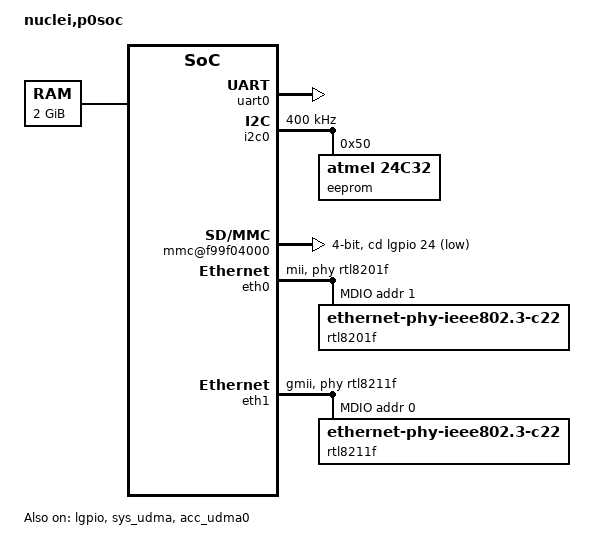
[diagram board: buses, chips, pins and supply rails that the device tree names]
/dts-v1/;

#include "nuclei-t0-pinfunc.h"
#include <dt-bindings/gpio/gpio.h>
#include <dt-bindings/clock/nuclei-clock.h>
#include <dt-bindings/reset/nuclei-reset.h>

#define TIMERCLK_FREQ      1000000
#define CPUCLK_FREQ        400000000

/ {
  #address-cells = <2>;
  #size-cells = <2>;
  compatible = "nuclei,p0soc";
  model = "nuclei,p0soc";
  dma-noncoherent;
  chosen {
      bootargs = "earlycon=sbi console=ttyNUC0 clk_ignore_unused";
      stdout-path = "serial0";
  };

  aliases {
    serial0 = &uart0;
  };

  cpus {
    #address-cells = <1>;
    #size-cells = <0>;
    timebase-frequency = <TIMERCLK_FREQ>;
    cpu0: cpu@0 {
      device_type = "cpu";
      reg = <0>;
      status = "okay";
      compatible = "riscv";
      riscv,isa = "rv64imafdc_zicbom_svpbmt_sstc_sscofpmf";
      riscv,cbom-block-size =<64>;
      mmu-type = "riscv,sv39";
      clock-frequency = <CPUCLK_FREQ>;
      cpu0_intc: interrupt-controller {
        #interrupt-cells = <1>;
        interrupt-controller;
        compatible = "riscv,cpu-intc";
      };
    };
    cpu1: cpu@1 {
      device_type = "cpu";
      reg = <1>;
      status = "okay";
      compatible = "riscv";
      riscv,isa = "rv64imafdc_zicbom_svpbmt_sstc_sscofpmf";
      riscv,cbom-block-size =<64>;
      mmu-type = "riscv,sv39";
      clock-frequency = <CPUCLK_FREQ>;
      cpu1_intc: interrupt-controller {
        #interrupt-cells = <1>;
        interrupt-controller;
        compatible = "riscv,cpu-intc";
      };
    };
  };

  memory@0 {
    device_type = "memory";
    reg = <0x0 0x0 0x0 0x80000000>;
  };

  reserved-memory {
    #address-cells = <2>;
    #size-cells = <2>;
    ranges;

    xec0_buf_memory: region@7E000000 {
        no-map;
        reg = <0x0 0x7E000000 0x0 0x38000>;
    };

    xec1_buf_memory: region@7E038000 {
        no-map;
        reg = <0x0 0x7E038000 0x0 0x38000>;
    };

    xec0_desc_memory: region@7E070000 {
        no-map;
        reg = <0x0 0x7E070000 0x0 0x8000>;
    };

    xec1_desc_memory: region@7E078000 {
        no-map;
        reg = <0x0 0x7E078000 0x0 0x8000>;
    };

    rtos_memory: region@7E080000 {
        no-map;
        reg = <0x0 0x7E080000 0x0 0x80000>;
    };

    rpmsg_reserved: rpmsg@7E100000 {
        no-map;
        reg = <0x0 0x7E100000 0x0 0x10000>;
    };

    rpmsg_dma_reserved:rpmsg_dma@7E110000 {
        compatible = "shared-dma-pool";
        no-map;
        reg = <0 0x7E110000 0 0xF0000>;
    };
  };

  soc {
    #address-cells = <2>;
    #size-cells = <2>;
    compatible = "nuclei,p0soc", "simple-bus";
    ranges;
  };

  /* Used for Uboot SBI Console */
  console {
    compatible = "sbi,console";
  };

  clocks {
    clk_in1: clk_in1 {
        compatible = "fixed-clock";
        #clock-cells = <0>;
        clock-frequency = <0>;
    };

    clk_in2: clk_in2 {
        compatible = "fixed-clock";
        #clock-cells = <0>;
        clock-frequency = <0>;
    };

    clk_in3: clk_in3 {
        compatible = "fixed-clock";
        #clock-cells = <0>;
        clock-frequency = <0>;
    };

    clk_in4: clk_in4 {
        compatible = "fixed-clock";
        #clock-cells = <0>;
        clock-frequency = <0>;
    };

    hsi: hsi {
        compatible = "fixed-clock";
        #clock-cells = <0>;
        clock-frequency = <16000000>;
    };

    hse: hse {
        compatible = "fixed-clock";
        #clock-cells = <0>;
        clock-frequency = <20000000>;
    };
    /* sys_pll set by N300 */
    sys_pll: sys_pll {
      compatible = "fixed-clock";
      #clock-cells = <0>;
      clock-frequency = <400000000>;
    };
    /* sys_pll_div2 set by N300 */
    sys_pll_div2: sys_pll_div2 {
      compatible = "fixed-clock";
      #clock-cells = <0>;
      clock-frequency = <200000000>;
    };
    /* sys_intf_clk set by N300 */
    sys_intf_clk: sys_intf_clk {
        compatible = "fixed-clock";
        #clock-cells = <0>;
        clock-frequency = <200000000>;
    };
    /* sys_clk set by N300 */
    sys_clk: sys_clk {
        compatible = "fixed-clock";
        #clock-cells = <0>;
        clock-frequency = <200000000>;
    };
  };

  ccu: clock-controller@f9c880000 {
    compatible = "nuclei,ccu";
    reg = <0xf 0x9c880000 0x0 0x1000>,/* sys_misc */
          <0xf 0x9cdb0000 0x0 0x1000>,/* xec_misc */
          <0xf 0x9c890000 0x0 0x1000>;/* usb_misc */
    #clock-cells = <1>;
    #reset-cells = <1>;
    clock-names = "hsi", "hse", "clk_in1", "clk_in2",
                "clk_in3", "clk_in4";
    clocks = <&hsi>, <&hse>, <&clk_in1>, <&clk_in2>,
                <&clk_in3>, <&clk_in4>;

    //assigned-clocks = <&ccu CLK_MUX_XEC_SYS>, <&ccu CLK_MUX_XEC_RMII>;
    //assigned-clock-parents = <&ccu CLK_CORE1_PLL>, <&ccu CLK_CORE1_PLL>;
    //core1-pll = <1 25 125 1>;   /* mux=1(xtal), N=25, M=125, OD=1 */
    //xuc-pll   = <1 20 100 1>;   /* mux=1(xtal), N=20, M=100, OD=1 */
  };

  pmu {
    compatible = "riscv,pmu";
    /* https://perf.wiki.kernel.org/index.php/Tutorial#Events */
    /* eg. perf stat -B coremark */
    /* eg. perf stat -e cycles -e instructions -e cache-misses -e branches -e branch-misses coremark */
    /* eg. perf stat -e cycles -e instructions -e L1-icache-load-misses -e L1-dcache-load-misses -e iTLB-load-misses -e dTLB-load-misses coremark */
    /* Note: in the dts comment, v2 means your Nuclei RISC-V CPU need to support HPM_VER = Version 2 */
    riscv,event-to-mhpmevent =
      /* Type #0 SBI_PMU_HW_CPU_CYCLES               -> Nuclei event sel=0 idx=1  Cycle count */
      <0x00001 0x00000000 0x00000010>,
      /* Type #0 SBI_PMU_HW_INSTRUCTIONS             -> Nuclei event sel=0 idx=2  Retired instruction count */
      <0x00002 0x00000000 0x00000020>,
      /* Type #0 SBI_PMU_HW_CACHE_REFERENCES         -> v2, Nuclei event sel=1 idx=8  L2-Cache access count */
      <0x00003 0x00000000 0x00000081>,
      /* Type #0 SBI_PMU_HW_CACHE_MISSES             -> v2, Nuclei event sel=1 idx=9  L2-Cache miss count */
      <0x00004 0x00000000 0x00000091>,
      /* Type #0 SBI_PMU_HW_BRANCH_INSTRUCTIONS      -> v2, Nuclei event sel=2 idx=2  Branch instruction commit count */
      <0x00005 0x00000000 0x00000022>,
      /* Type #0 SBI_PMU_HW_BRANCH_MISSES            -> v2, Nuclei event sel=2 idx=3  Branch predict fail count */
      <0x00006 0x00000000 0x00000032>,
      /* Type #0 SBI_PMU_HW_BUS_CYCLES               -> v2, Nuclei event sel=1 idx=10 Memory bus request count */
      <0x00007 0x00000000 0x000000A1>,
      /* Type #0 SBI_PMU_HW_STALLED_CYCLES_FRONTEND  -> v2, Nuclei event sel=1 idx=11 IFU stall cycle count */
      <0x00008 0x00000000 0x000000B1>,
      /* Type #0 SBI_PMU_HW_STALLED_CYCLES_BACKEND   -> v2, Nuclei event sel=1 idx=12 EXU stall cycle count */
      <0x00009 0x00000000 0x000000C1>,
      /* Type #0 SBI_PMU_HW_REF_CPU_CYCLES           -> v2, Nuclei event sel=1 idx=13 Timer count */
      <0x0000A 0x00000000 0x000000D1>,
      /* Type #1 SBI_PMU_HW_CACHE_L1D(0) READ(0) ACCESS(0)     -> v2, Nuclei event sel=3 idx=0 Dcache read count */
      <0x10000 0x00000000 0x00000003>,
      /* Type #1 SBI_PMU_HW_CACHE_L1D(0) READ(0) MISS(1)       -> v2, Nuclei event sel=3 idx=1 Dcache read miss count */
      <0x10001 0x00000000 0x00000013>,
      /* Type #1 SBI_PMU_HW_CACHE_L1D(0) WRITE(1) ACCESS(0)    -> v2, Nuclei event sel=3 idx=2 Dcache write count */
      <0x10002 0x00000000 0x00000023>,
      /* Type #1 SBI_PMU_HW_CACHE_L1D(0) WRITE(1) MISS(1)      -> v2, Nuclei event sel=3 idx=3 Dcache write miss count */
      <0x10003 0x00000000 0x00000033>,
      /* Type #1 SBI_PMU_HW_CACHE_L1D(0) PREFETCH(2) ACCESS(0) -> v2, Nuclei event sel=3 idx=4 Dcache prefetch count */
      <0x10004 0x00000000 0x00000043>,
      /* Type #1 SBI_PMU_HW_CACHE_L1D(0) PREFETCH(2) MISS(1)   -> v2, Nuclei event sel=3 idx=5 Dcache prefetch miss count */
      <0x10005 0x00000000 0x00000053>,
      /* Type #1 SBI_PMU_HW_CACHE_L1I(1) READ(0) ACCESS(0)     -> v2, Nuclei event sel=3 idx=6 Icache read count */
      <0x10008 0x00000000 0x00000063>,
      /* Type #1 SBI_PMU_HW_CACHE_L1I(1) READ(0) MISS(1)       -> v1, Nuclei event sel=1 idx=1 Icache read miss count */
      <0x10009 0x00000000 0x00000011>,
      /* Type #1 SBI_PMU_HW_CACHE_L1I(1) PREFETCH(2) ACCESS(0) -> v2, Nuclei event sel=3 idx=8 Icache prefetch count */
      <0x1000C 0x00000000 0x00000083>,
      /* Type #1 SBI_PMU_HW_CACHE_L1I(1) PREFETCH(2) MISS(1)   -> v2, Nuclei event sel=3 idx=9 Icache prefetch miss count */
      <0x1000D 0x00000000 0x00000093>,
      /* Type #1 SBI_PMU_HW_CACHE_LL(2) READ(0) ACCESS(0)      -> v2, Nuclei event sel=3 idx=10 L2 Cache read count */
      <0x10010 0x00000000 0x000000A3>,
      /* Type #1 SBI_PMU_HW_CACHE_LL(2) READ(0) MISS(1)        -> v2, Nuclei event sel=3 idx=11 L2 Cache read miss count */
      <0x10011 0x00000000 0x000000B3>,
      /* Type #1 SBI_PMU_HW_CACHE_LL(2) WRITE(1) ACCESS(0)     -> v2, Nuclei event sel=3 idx=12 L2 Cache write count */
      <0x10012 0x00000000 0x000000C3>,
      /* Type #1 SBI_PMU_HW_CACHE_LL(2) WRITE(1) MISS(1)       -> v2, Nuclei event sel=3 idx=13 L2 Cache write miss count */
      <0x10013 0x00000000 0x000000D3>,
      /* Type #1 SBI_PMU_HW_CACHE_LL(2) PREFETCH(2) ACCESS(0)  -> v2, Nuclei event sel=3 idx=14 L2 Cache prefetch count */
      <0x10014 0x00000000 0x000000E3>,
      /* Type #1 SBI_PMU_HW_CACHE_LL(2) PREFETCH(2) MISS(1)    -> v2, Nuclei event sel=3 idx=15 L2 Cache prefetch miss count */
      <0x10015 0x00000000 0x000000F3>,
      /* Type #1 SBI_PMU_HW_CACHE_DTLB(3) READ(0) ACCESS(0)     -> v2, Nuclei event sel=3 idx=16 DTLB read count */
      <0x10018 0x00000000 0x00000103>,
      /* Type #1 SBI_PMU_HW_CACHE_DTLB(3) READ(0) MISS(1)       -> v2, Nuclei event sel=3 idx=17 DTLB read miss count */
      <0x10019 0x00000000 0x00000113>,
      /* Type #1 SBI_PMU_HW_CACHE_DTLB(3) WRITE(1) ACCESS(0)    -> v2, Nuclei event sel=3 idx=18 DTLB write count */
      <0x1001A 0x00000000 0x00000123>,
      /* Type #1 SBI_PMU_HW_CACHE_DTLB(3) WRITE(1) MISS(1)      -> v2, Nuclei event sel=3 idx=19 DTLB write miss count */
      <0x1001B 0x00000000 0x00000133>,
      /* Type #1 SBI_PMU_HW_CACHE_ITLB(4) READ(0) ACCESS(0)     -> v2, Nuclei event sel=3 idx=20 ITLB read count */
      <0x10020 0x00000000 0x00000143>,
      /* Type #1 SBI_PMU_HW_CACHE_ITLB(4) READ(0) MISS(1)       -> v1, Nuclei event sel=1 idx=3 ITLB read miss count */
      <0x10021 0x00000000 0x00000031>,
      /* Type #1 SBI_PMU_HW_CACHE_BTB(5) READ(0) ACCESS(0)      -> v2, Nuclei event sel=3 idx=22 BTB read count */
      <0x10028 0x00000000 0x00000163>,
      /* Type #1 SBI_PMU_HW_CACHE_BTB(5) READ(0) MISS(1)        -> v2, Nuclei event sel=3 idx=23 BTB read miss count */
      <0x10029 0x00000000 0x00000173>,
      /* Type #1 SBI_PMU_HW_CACHE_BTB(5) WRITE(1) ACCESS(0)     -> v2, Nuclei event sel=3 idx=24 BTB write count */
      <0x1002A 0x00000000 0x00000183>,
      /* Type #1 SBI_PMU_HW_CACHE_BTB(5) WRITE(1) MISS(1)       -> v2, Nuclei event sel=3 idx=25 BTB write miss count */
      <0x1002B 0x00000000 0x00000193>,
      /* Type #1 SBI_PMU_HW_CACHE_NODE(6) READ(0) ACCESS(0)      -> v2, Nuclei event sel=3 idx=10 L2 Cache read count */
      <0x10030 0x00000000 0x000000A3>,
      /* Type #1 SBI_PMU_HW_CACHE_NODE(6) READ(0) MISS(1)        -> v2, Nuclei event sel=3 idx=11 L2 Cache read miss count */
      <0x10031 0x00000000 0x000000B3>,
      /* Type #1 SBI_PMU_HW_CACHE_NODE(6) WRITE(1) ACCESS(0)     -> v2, Nuclei event sel=3 idx=12 L2 Cache write count */
      <0x10032 0x00000000 0x000000C3>,
      /* Type #1 SBI_PMU_HW_CACHE_NODE(6) WRITE(1) MISS(1)       -> v2, Nuclei event sel=3 idx=13 L2 Cache write miss count */
      <0x10033 0x00000000 0x000000D3>,
      /* Type #1 SBI_PMU_HW_CACHE_NODE(6) PREFETCH(2) ACCESS(0)  -> v2, Nuclei event sel=3 idx=14 L2 Cache prefetch count */
      <0x10034 0x00000000 0x000000E3>,
      /* Type #1 SBI_PMU_HW_CACHE_NODE(6) PREFETCH(2) MISS(1)    -> v2, Nuclei event sel=3 idx=15 L2 Cache prefetch miss count */
      <0x10035 0x00000000 0x000000F3>;
    /* make hpm3-6 counter available for all hardware events */
    riscv,event-to-mhpmcounters =
      <0x00001 0x0000000A 0x00000078>,
      <0x10000 0x00010035 0x00000078>;
    /* Raw event: eg. perf stat -e cycles -e instructions -e r00000190 -e r00000010 coremark */
    riscv,raw-event-to-mhpmcounters =
      /*  Event Types 0 events - 0x1 Cycle count */
      <0x00000000 0x00000010 0xffffffff 0xffffffff 0x00000078>,
      /*  Event Types 0 events - 0x2 Retired instruction count */
      <0x00000000 0x00000020 0xffffffff 0xffffffff 0x00000078>,
      /*  Event Types 0 events - 0x3 Integer load instruction (includes LR) */
      <0x00000000 0x00000030 0xffffffff 0xffffffff 0x00000078>,
      /*  Event Types 0 events - 0x4 Integer store instruction (includes SC) */
      <0x00000000 0x00000040 0xffffffff 0xffffffff 0x00000078>,
      /*  Event Types 0 events - 0x5 Atomic memory operation (do not include LR and SC) */
      <0x00000000 0x00000050 0xffffffff 0xffffffff 0x00000078>,
      /*  Event Types 0 events - 0x6 System instruction */
      <0x00000000 0x00000060 0xffffffff 0xffffffff 0x00000078>,
      /*  Event Types 0 events - 0x7 Integer computational instruction(excluding multiplication/division/remainder) */
      <0x00000000 0x00000070 0xffffffff 0xffffffff 0x00000078>,
      /*  Event Types 0 events - 0x8 Conditional branch */
      <0x00000000 0x00000080 0xffffffff 0xffffffff 0x00000078>,
      /*  Event Types 0 events - 0x9 Taken conditional branch */
      <0x00000000 0x00000090 0xffffffff 0xffffffff 0x00000078>,
      /*  Event Types 0 events - 0xa JAL instruction */
      <0x00000000 0x000000a0 0xffffffff 0xffffffff 0x00000078>,
      /*  Event Types 0 events - 0xb JALR instruction */
      <0x00000000 0x000000b0 0xffffffff 0xffffffff 0x00000078>,
      /*  Event Types 0 events - 0xc Return instruction */
      <0x00000000 0x000000c0 0xffffffff 0xffffffff 0x00000078>,
      /*  Event Types 0 events - 0xd Control transfer instruction (CBR+JAL+JALR) */
      <0x00000000 0x000000d0 0xffffffff 0xffffffff 0x00000078>,
      /*  Event Types 0 events - 0xe fence instruction(Not include fence.i) */
      <0x00000000 0x000000e0 0xffffffff 0xffffffff 0x00000078>,
      /*  Event Types 0 events - 0xf Integer multiplication instruction */
      <0x00000000 0x000000f0 0xffffffff 0xffffffff 0x00000078>,
      /*  Event Types 0 events - 0x10 Integer division/remainder instruction */
      <0x00000000 0x00000100 0xffffffff 0xffffffff 0x00000078>,
      /*  Event Types 0 events - 0x11 Floating-point load instruction */
      <0x00000000 0x00000110 0xffffffff 0xffffffff 0x00000078>,
      /*  Event Types 0 events - 0x12 Floating-point store instruction */
      <0x00000000 0x00000120 0xffffffff 0xffffffff 0x00000078>,
      /*  Event Types 0 events - 0x13 Floating-point addition/subtraction */
      <0x00000000 0x00000130 0xffffffff 0xffffffff 0x00000078>,
      /*  Event Types 0 events - 0x14 Floating-point multiplication */
      <0x00000000 0x00000140 0xffffffff 0xffffffff 0x00000078>,
      /*  Event Types 0 events - 0x15 Floating-point fused multiply-add (FMADD, FMSUB,FNMSUB, FNMADD) */
      <0x00000000 0x00000150 0xffffffff 0xffffffff 0x00000078>,
      /*  Event Types 0 events - 0x16 Floating-point division or square-root */
      <0x00000000 0x00000160 0xffffffff 0xffffffff 0x00000078>,
      /*  Event Types 0 events - 0x17 Other floating-point instruction */
      <0x00000000 0x00000170 0xffffffff 0xffffffff 0x00000078>,
      /*  Event Types 0 events - 0x18 Conditional branch(BXX) prediction fail */
      <0x00000000 0x00000180 0xffffffff 0xffffffff 0x00000078>,
      /*  Event Types 0 events - 0x19 JALR prediction fail */
      <0x00000000 0x00000190 0xffffffff 0xffffffff 0x00000078>,
      /*  Event Types 0 events - 0x1a POP prediction fail */
      <0x00000000 0x000001a0 0xffffffff 0xffffffff 0x00000078>,
      /*  Event Types 0 events - 0x1b FENCEI instruction */
      <0x00000000 0x000001b0 0xffffffff 0xffffffff 0x00000078>,
      /*  Event Types 0 events - 0x1c SFENCE instruction */
      <0x00000000 0x000001c0 0xffffffff 0xffffffff 0x00000078>,
      /*  Event Types 0 events - 0x1d ECALL instruction */
      <0x00000000 0x000001d0 0xffffffff 0xffffffff 0x00000078>,
      /*  Event Types 0 events - 0x1e EXCEPTION instruction */
      <0x00000000 0x000001e0 0xffffffff 0xffffffff 0x00000078>,
      /*  Event Types 0 events - 0x1f INTERRUPT instruction */
      <0x00000000 0x000001f0 0xffffffff 0xffffffff 0x00000078>,
      /*  Event Types 1 events - 0x1 Icache read miss count */
      <0x00000000 0x00000011 0xffffffff 0xffffffff 0x00000078>,
      /*  Event Types 1 events - 0x2 Dcache read/write miss count */
      <0x00000000 0x00000021 0xffffffff 0xffffffff 0x00000078>,
      /*  Event Types 1 events - 0x3 ITLB read miss count */
      <0x00000000 0x00000031 0xffffffff 0xffffffff 0x00000078>,
      /*  Event Types 1 events - 0x4 DTLB read/write miss count */
      <0x00000000 0x00000041 0xffffffff 0xffffffff 0x00000078>,
      /*  Event Types 1 events - 0x5 Main TLB miss count */
      <0x00000000 0x00000051 0xffffffff 0xffffffff 0x00000078>,
      /*  Event Types 1 events - 0x6 Reserved */
      <0x00000000 0x00000061 0xffffffff 0xffffffff 0x00000078>,
      /*  Event Types 1 events - 0x7 Reserved */
      <0x00000000 0x00000071 0xffffffff 0xffffffff 0x00000078>,
      /*  Event Types 1 events - 0x8 L2-Cache access count */
      <0x00000000 0x00000081 0xffffffff 0xffffffff 0x00000078>,
      /*  Event Types 1 events - 0x9 L2-Cache miss count */
      <0x00000000 0x00000091 0xffffffff 0xffffffff 0x00000078>,
      /*  Event Types 1 events - 0xa Memory bus request count */
      <0x00000000 0x000000a1 0xffffffff 0xffffffff 0x00000078>,
      /*  Event Types 1 events - 0xb IFU stall cycle count */
      <0x00000000 0x000000b1 0xffffffff 0xffffffff 0x00000078>,
      /*  Event Types 1 events - 0xc EXU stall cycle count */
      <0x00000000 0x000000c1 0xffffffff 0xffffffff 0x00000078>,
      /*  Event Types 1 events - 0xd Timer count */
      <0x00000000 0x000000d1 0xffffffff 0xffffffff 0x00000078>,
      /*  Event Types 2 events - 0x1 VPU store instruction commit count */
      <0x00000000 0x00000012 0xffffffff 0xffffffff 0x00000078>,
      /*  Event Types 2 events - 0x2 Reserved */
      <0x00000000 0x00000022 0xffffffff 0xffffffff 0x00000078>,
      /*  Event Types 2 events - 0x3 VPU load instruction commit count */
      <0x00000000 0x00000032 0xffffffff 0xffffffff 0x00000078>,
      /*  Event Types 2 events - 0x4 VPU computational instruction commit count */
      <0x00000000 0x00000042 0xffffffff 0xffffffff 0x00000078>,
      /*  Event Types 2 events - 0x5 Branch predict fail count */
      <0x00000000 0x00000052 0xffffffff 0xffffffff 0x00000078>,
      /*  Event Types 3 events - 0x1 Icache read count */
      <0x00000000 0x00000013 0xffffffff 0xffffffff 0x00000078>,
      /*  Event Types 3 events - 0x2 L2-Cache read hit count */
      <0x00000000 0x00000023 0xffffffff 0xffffffff 0x00000078>,
      /*  Event Types 3 events - 0x3 DTLB write count */
      <0x00000000 0x00000033 0xffffffff 0xffffffff 0x00000078>,
      /*  Event Types 3 events - 0x4 L2-Cache write miss count */
      <0x00000000 0x00000043 0xffffffff 0xffffffff 0x00000078>,
      /*  Event Types 3 events - 0x5 Reserved */
      <0x00000000 0x00000053 0xffffffff 0xffffffff 0x00000078>,
      /*  Event Types 3 events - 0x6 Icache prefetch miss count */
      <0x00000000 0x00000063 0xffffffff 0xffffffff 0x00000078>,
      /*  Event Types 3 events - 0x7 BTB write count */
      <0x00000000 0x00000073 0xffffffff 0xffffffff 0x00000078>,
      /*  Event Types 3 events - 0x8 L2-Cache read miss count */
      <0x00000000 0x00000083 0xffffffff 0xffffffff 0x00000078>,
      /*  Event Types 3 events - 0x9 DTLB write miss count */
      <0x00000000 0x00000093 0xffffffff 0xffffffff 0x00000078>,
      /*  Event Types 3 events - 0xa ITLB read count */
      <0x00000000 0x000000a3 0xffffffff 0xffffffff 0x00000078>,
      /*  Event Types 3 events - 0xb BTB read count */
      <0x00000000 0x000000b3 0xffffffff 0xffffffff 0x00000078>,
      /*  Event Types 3 events - 0xc Dcache prefetch count */
      <0x00000000 0x000000c3 0xffffffff 0xffffffff 0x00000078>,
      /*  Event Types 3 events - 0xd Icache prefetch count */
      <0x00000000 0x000000d3 0xffffffff 0xffffffff 0x00000078>,
      /*  Event Types 3 events - 0xe Dcache write count */
      <0x00000000 0x000000e3 0xffffffff 0xffffffff 0x00000078>,
      /*  Event Types 3 events - 0xf DTLB read count */
      <0x00000000 0x000000f3 0xffffffff 0xffffffff 0x00000078>,
      /*  Event Types 3 events - 0x10 Dcache write miss count */
      <0x00000000 0x00000103 0xffffffff 0xffffffff 0x00000078>,
      /*  Event Types 3 events - 0x11 BTB write miss count */
      <0x00000000 0x00000113 0xffffffff 0xffffffff 0x00000078>,
      /*  Event Types 3 events - 0x12 Dcache read count */
      <0x00000000 0x00000123 0xffffffff 0xffffffff 0x00000078>,
      /*  Event Types 3 events - 0x13 L2-Cache write hit count */
      <0x00000000 0x00000133 0xffffffff 0xffffffff 0x00000078>,
      /*  Event Types 3 events - 0x14 L2-Cache prefetch miss count */
      <0x00000000 0x00000143 0xffffffff 0xffffffff 0x00000078>,
      /*  Event Types 3 events - 0x15 BTB read miss count */
      <0x00000000 0x00000153 0xffffffff 0xffffffff 0x00000078>,
      /*  Event Types 3 events - 0x16 Dcache read miss count */
      <0x00000000 0x00000163 0xffffffff 0xffffffff 0x00000078>,
      /*  Event Types 3 events - 0x17 L2-Cache prefetch hit count */
      <0x00000000 0x00000173 0xffffffff 0xffffffff 0x00000078>,
      /*  Event Types 3 events - 0x18 DTLB read miss count */
      <0x00000000 0x00000183 0xffffffff 0xffffffff 0x00000078>;
  };

  plic0: interrupt-controller@f94000000 {
    #interrupt-cells = <1>;
    compatible = "riscv,plic0";
    interrupt-controller;
    riscv,ndev = <127>;
    interrupts-extended =
          <&cpu0_intc 11 &cpu0_intc 9
           &cpu1_intc 11 &cpu1_intc 9>;
    reg = <0xf 0x94000000 0x0 0x4000000>;
  };

  clint0: clint@f90031000 {
    #interrupt-cells = <1>;
    compatible = "riscv,clint0";
    reg = <0xf 0x90031000 0x0 0x10000>;
    interrupts-extended =
          <&cpu0_intc 3 &cpu0_intc 7
           &cpu1_intc 3 &cpu1_intc 7>;
  };

  iomuxc:iomuxc@f9ca00000 {
    compatible = "nuclei,iomuxc";
    reg = <0xf 0x9ca00000 0x0 0x100000>;
    clocks = <&ccu CLK_IOMUX>;
    clock-names = "apb";
    pinctrl_uart0: uart0grp {
        nuclei,pins = <
            PAD_LS(19, 0, USART0_RX)
            PAD_LS(20, 0, USART0_TX)
        >;
    };

    pinctrl_i2c0: i2c0grp {
        nuclei,pins = <
            PAD_LS(36, 1, I2C0_SCL)
            PAD_LS(37, 1, I2C0_SDA)
        >;
        bias-pull-up;
    };

    pinctrl_spi0: spi0grp {
        nuclei,pins = <
            PAD0_G0_HS0_QSPI_XIP0_CS_0
            PAD4_G0_HS0_QSPI_XIP0_SCK
            PAD5_G0_HS0_QSPI_XIP0_DQ_0
            PAD1_G0_HS0_QSPI_XIP0_DQ_1
        >;
    };

    pinctrl_sdio0: sdio0grp {
        nuclei,pins = <
            PAD9_G0_HS0_SDIO0_SDCLK
            PAD8_G0_HS0_SDIO0_SDCMD
            PAD7_G0_HS0_SDIO0_SDDATA0
            PAD6_G0_HS0_SDIO0_SDDATA1
            PAD11_G0_HS0_SDIO0_SDDATA2
            PAD10_G0_HS0_SDIO0_SDDATA3
        >;
    };

    pinctrl_xec0: xecgrp {
        nuclei,pins = <
            PAD16_G0_HS0_XEC_GEN20_MDIO
            PAD17_G0_HS0_XEC_GEN20_MDC
            PAD18_G0_HS0_XEC_GEN20_GMII_TXEN
            PAD21_G0_HS0_XEC_GEN20_GMII_TXD3
            PAD22_G1_HS0_XEC_GEN20_GMII_TXD2
            PAD23_G1_HS0_XEC_GEN20_GMII_TXD1
            PAD24_G1_HS0_XEC_GEN20_GMII_TXD0
            PAD25_G1_HS0_XEC_GEN20_XMII_TXC
            PAD26_G1_HS0_XEC_GEN20_GMII_RXC
            PAD27_G1_HS0_XEC_GEN20_GMII_RXD3
            PAD28_G1_HS0_XEC_GEN20_GMII_RXD2
            PAD29_G1_HS0_XEC_GEN20_GMII_RXD1
            PAD30_G1_HS0_XEC_GEN20_GMII_RXD0
            PAD31_G1_HS0_XEC_GEN20_GMII_RXDV
            PAD32_G1_HS0_XEC_GEN20_GMII_RXER
            PAD33_G1_HS0_XEC_GEN20_GMII_COL
            PAD34_G1_HS0_XEC_GEN20_GMII_CRS
            PAD35_G1_HS0_XEC_GEN20_GMII_TXER
        >;
    };

    pinctrl_disp: dispgrp {
        nuclei,pins = <
            PAD64_G3_HS0_DISP0_VS
            PAD65_G3_HS0_DISP0_HS
            PAD66_G3_HS0_DISP0_PIXCLK
            PAD67_G3_HS0_DISP0_DE
            PAD68_G3_HS0_DISP0_RED7
            PAD69_G3_HS0_DISP0_RED6
            PAD70_G3_HS0_DISP0_RED5
            PAD71_G3_HS0_DISP0_RED4
            PAD72_G3_HS0_DISP0_RED3
            PAD73_G3_HS0_DISP0_RED2
            PAD74_G3_HS0_DISP0_RED1
            PAD75_G3_HS0_DISP0_RED0
            PAD76_G3_HS0_DISP0_GREEN7
            PAD77_G3_HS0_DISP0_GREEN6
            PAD78_G3_HS0_DISP0_GREEN5
            PAD79_G3_HS0_DISP0_GREEN4
            PAD80_G3_HS0_DISP0_GREEN3
            PAD81_G3_HS0_DISP0_GREEN2
            PAD82_G3_HS0_DISP0_GREEN1
            PAD83_G3_HS0_DISP0_GREEN0
            PAD84_G3_HS0_DISP0_BLUE7
            PAD85_G4_HS0_DISP0_BLUE6
            PAD86_G4_HS0_DISP0_BLUE5
            PAD87_G4_HS0_DISP0_BLUE4
            PAD88_G4_HS0_DISP0_BLUE3
            PAD89_G4_HS0_DISP0_BLUE2
            PAD90_G4_HS0_DISP0_BLUE1
            PAD91_G4_HS0_DISP0_BLUE0
        >;
    };
  };

  lgpio:lgpio@F9c480000 {
    compatible = "nuclei,gpio";
    reg = <0xf 0x9c480000 0x0 0x1000>;
    interrupt-parent = <&plic0>;
    interrupts = <58>;
    gpio-controller;
    #gpio-cells = <2>;
    interrupt-controller;
    #interrupt-cells = <2>;
    /* gpio 0~3, 24~31 can be used */
    gpio-ranges = <&iomuxc 0 12 4>, <&iomuxc 24 127 2>,
                <&iomuxc 26 131 2>, <&iomuxc 28 165 4>;
    /* no used gpio from 4 to 23 */
    gpio-reserved-ranges = <4 20>;
    clocks = <&ccu CLK_LGPIO0>;
    clock-names = "apb";
    assigned-clocks = <&ccu CLK_LGPIO0>;
    assigned-clock-rates = <50000000>;
    status = "okay";
  };

  sys_udma:sys_udma@F9C900000 {
    compatible = "nuclei,dmac";
    #dma-cells = <2>;
    reg = <0xf 0x9C900000 0x0 0x1000>;
    interrupt-parent = <&plic0>;
    interrupts = <94>;
    clocks = <&ccu CLK_SYS_UDMA>;
    clock-names = "apb";
    resets = <&ccu RST_SYS_UDMA>;
    /* dma channel for mem2mem */
    dma-memcpy = <8>;
    /* dma channel for pa2mem */
    dma-channels = <0>;
    dma-requests = <8>;
    status = "okay";
  };

  acc_udma0:acc_udma0@f9c910000 {
    compatible = "nuclei,dmac";
    #dma-cells = <2>;
    reg = <0xf 0x9c910000 0x0 0x1000>;
    interrupt-parent = <&plic0>;
    interrupts = <110>;
    clocks = <&ccu CLK_ACC_UDMA0>;
    clock-names = "apb";
    resets = <&ccu RST_ACC_UDMA0>;
    dma-ctrl-id = <0>;
    /* dma channel for mem2mem */
    dma-memcpy = <2>;
    /* dma channel for pa2mem */
    dma-channels = <13>;
    dma-requests = <103>;
    status = "okay";
  };

  acc_udma1:acc_udma0@f9c920000 {
    compatible = "nuclei,dmac";
    #dma-cells = <2>;
    reg = <0xf 0x9c920000 0x0 0x1000>;
    interrupt-parent = <&plic0>;
    interrupts = <112>;
    clocks = <&ccu CLK_ACC_UDMA1>;
    clock-names = "apb";
    resets = <&ccu RST_ACC_UDMA1>;
    dma-ctrl-id = <1>;
    /* dma channel for mem2mem */
    dma-memcpy = <2>;
    /* dma channel for pa2mem */
    dma-channels = <12>;
    dma-requests = <94>;
    status = "disabled";
  };

  uart0: serial@f9c250000 {
    compatible = "nuclei,uart0";
    reg = <0xf 0x9c250000 0x0 0x1000>;
    pinctrl-names = "default";
    pinctrl-0 = <&pinctrl_uart0>;
    clocks = <&ccu CLK_USART0>, <&ccu CLK_USART0_INTF>;
    clock-names = "apb", "kern";
    assigned-clocks = <&ccu CLK_USART0>, <&ccu CLK_USART0_INTF>;
    assigned-clock-rates = <100000000>, <100000000>;
    clock-frequency = <100000000>;
    interrupt-parent = <&plic0>;
    interrupts = <5>;
    status = "okay";
  };

  uart1: serial@f9c251000 {
    compatible = "nuclei,uart0";
    reg = <0xf 0x9c251000 0x0 0x1000>;
    interrupt-parent = <&plic0>;
    interrupts = <6>;
    clocks = <&ccu CLK_USART1>, <&ccu CLK_USART1_INTF>;
    clock-names = "apb", "kern";
    status = "disabled";
  };

  i2c0: i2c@f9c280000 {
    compatible = "nuclei,i2c";
    reg = <0xf 0x9c280000 0x0 0x1000>;
    pinctrl-names = "default";
    pinctrl-0 = <&pinctrl_i2c0>;
    status = "okay";
    clocks = <&ccu CLK_I2C0>, <&ccu CLK_I2C0_INTF>;
    clock-names = "apb", "kern";
    clock-frequency = <400000>;
    resets = <&ccu RST_I2C0>;
    assigned-clocks = <&ccu CLK_I2C0>, <&ccu CLK_I2C0_INTF>;
    assigned-clock-rates = <50000000>, <8000000>;
    dmas = <&acc_udma0 1 16>, <&acc_udma0 1 17>;
    dma-names = "tx", "rx";
    #address-cells = <1>;
    #size-cells = <0>;

    eeprom@50 {
        compatible = "atmel,24c32";
        reg = <0x50>;
        pagesize = <32>;
    };
  };

  qspi0: spi@f9c200000 {
    compatible = "nuclei,spi0";
    reg = <0xf 0x9c200000 0x0 0x1000>;
    pinctrl-names = "default";
    pinctrl-0 = <&pinctrl_spi0>;
    interrupt-parent = <&plic0>;
    interrupts = <24>;
    num-cs = <1>;

    dmas = <&acc_udma0 1 20>, <&acc_udma0 1 21>;
    dma-names = "tx", "rx";

    #address-cells = <1>;
    #size-cells = <0>;
    clocks = <&ccu CLK_QSPI_XIP0>, <&ccu CLK_QSPI_XIP0_INTF>;
    clock-names = "apb", "kern";
    resets = <&ccu RST_QSPI_XIP0>;
    status = "disabled";

    flash@0 {
      compatible = "jedec,spi-nor";
      reg = <0>;
      spi-max-frequency = <1000000>;
      m25p,fast-read;
      spi-tx-bus-width = <1>;
      spi-rx-bus-width = <1>;
    };
  };


  mmc@f99f04000 {
    compatible = "nuclei,mmc";
    reg = <0xf 0x99f04000 0x0 0x1000>;
    pinctrl-names = "default";
    pinctrl-0 = <&pinctrl_sdio0>;
    interrupt-parent = <&plic0>;
    interrupts = <95>;
    clocks = <&ccu CLK_SDIO0>, <&ccu CLK_SDIO0_INTF>;
    clock-names = "apb", "kern";

    resets = <&ccu RST_SDIO0>;
    max-frequency = <50000000>;
    bus-width = <4>;
    no-sdio;
    no-mmc;
    cd-gpios = <&lgpio 24 (GPIO_ACTIVE_LOW | GPIO_PULL_UP)>;
    cap-sd-highspeed;
    status = "okay";
  };

  eth0: xec@f9c210000 {
    compatible = "nuclei,xec";
    reg = <0xf 0x9c210000 0x0 0x1000>;
    pinctrl-names = "default";
    pinctrl-0 = <&pinctrl_xec0>;
    interrupt-parent = <&plic0>;
    interrupts = <67>;
    clocks = <&ccu CLK_XEC_GEN20_SYS>, <&ccu CLK_XEC_GEN20_PTP_REF>, <&ccu CLK_XEC_GEN20_RMII_REF>;
    clock-names = "sys", "ptp_ref", "rmii_ref";
    assigned-clocks = <&ccu CLK_XEC_GEN20_SYS>, <&ccu CLK_XEC_GEN20_PTP_REF>, <&ccu CLK_XEC_GEN20_RMII_REF>;
    assigned-clock-rates = <25000000>, <125000000>, <50000000>;
    resets = <&ccu RST_XEC_GEN20>;
    /*local-mac-address = [00 2b 20 21 03 24];*/
    phy-handle = <&rtl8201f>;
    phy-mode = "mii";
    desc_mem = <&xec0_desc_memory>;
    txrx_buf = <&xec0_buf_memory>;
    status = "okay";
    mdio {
        compatible = "snps,dwmac-mdio";
        #address-cells = <1>;
        #size-cells = <0>;

        rtl8201f: ethernet-phy@1 {
            compatible = "ethernet-phy-ieee802.3-c22";
            reg = <1>;
        };
    };
  };

  eth1: xec@f9cdc0000 {
    compatible = "nuclei,xec";
    reg = <0xf 0x9cdc0000 0x0 0x1000>;
    interrupt-parent = <&plic0>;
    interrupts = <68>;
    clocks = <&ccu CLK_XEC_GEN20_SYS>, <&ccu CLK_XEC_GEN21_PTP_REF>, <&ccu CLK_XEC_GEN21_RMII_REF>;
    clock-names = "sys", "ptp_ref", "rmii_ref";
    assigned-clocks = <&ccu CLK_XEC_GEN20_SYS>, <&ccu CLK_XEC_GEN21_PTP_REF>, <&ccu CLK_XEC_GEN21_RMII_REF>;
    assigned-clock-rates = <125000000>, <125000000>, <50000000>;
    /*local-mac-address = [00 2b 20 21 03 23];*/
    phy-handle = <&rtl8211f>;
    phy-mode = "gmii";
    desc_mem = <&xec1_desc_memory>;
    txrx_buf = <&xec1_buf_memory>;
    status = "okay";
    mdio {
        compatible = "snps,dwmac-mdio";
        #address-cells = <1>;
        #size-cells = <0>;

        rtl8211f: ethernet-phy@0 {
            compatible = "ethernet-phy-ieee802.3-c22";
            reg = <0>;
        };
    };
  };

  idu: idu@f9c870000 {
    compatible = "nuclei,idu";
    reg = <0xf 0x9c870000 0x0 0x10000>;
    interrupt-parent = <&plic0>;
    interrupts = <1>;
    #mbox-cells = <1>;
    clocks = <&ccu CLK_IDU>;
    clock-names = "apb";
    status = "disabled";
  };

  rpmsg: rpmsg@7e100000{
    compatible = "nuclei,rpmsg";
    mboxes = <&idu 0>;
    reg = <0x0 0x7E100000 0x0 0x10000>;
    memory-region = <&rpmsg_dma_reserved>;
    status = "disabled";
  };

  sysrst@f90030ff0 {
    compatible = "nuclei,sysrst";
    reg = <0xf 0x90030ff0 0x0 0x0>;
  };
};
